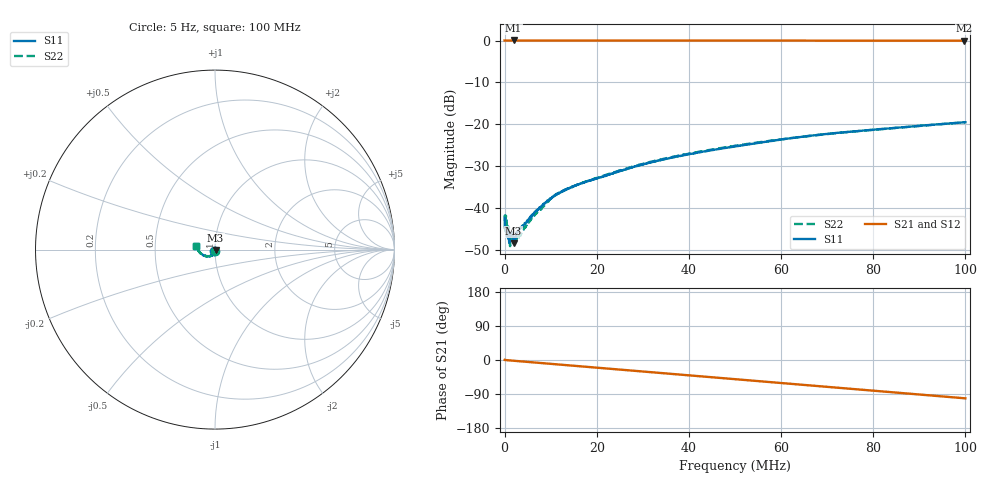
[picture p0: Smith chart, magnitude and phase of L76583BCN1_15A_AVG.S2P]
!Agilent Technologies,E5061B,MY49102235,A.02.00
!Date: Tue Jul 11 14:52:58 2023
!Data & Calibration Information:
!Freq	S11:SOLT2(ON)	S21:SOLT2(ON)	S12:SOLT2(ON)	S22:SOLT2(ON)
# Hz S RI R 50
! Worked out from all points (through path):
!   1600 points, 5 Hz to 100 MHz, reference 50 ohm
!   highest |S21| = 0.02 dB at 1.939 MHz (marker M1); lowest = 0.0 dB at 99.75 MHz (marker M2)
!   group delay of S21, straight-line fit = 2.81 ns
!   lowest |S11| = -48.4 dB at 1.939 MHz (marker M3), VSWR 1.01, Z = 50.3 - j0.219 ohm
!   |S11| at or under -10 dB: start of sweep to end of sweep
!   |S22| runs from -49.1 to -19.5 dB; largest |S21 - S12| = 0.0027
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5  -0.00515 -0.00562  1.002 0.00793  1 0.0103  -0.00153 -0.00754
437778.6  0.00514 -0.000571  1.001 -0.00537  1.001 -0.00607  0.00662 -0.00222
625395.8  0.00505 -0.000589  1.002 -0.0106  1.002 -0.01  0.0061 -0.000982
938091.3  0.00433 -0.000341  1.001 -0.0152  1.001 -0.0148  0.0059 -0.00091
1500943  0.00436 -0.00239  1.001 -0.0252  1.001 -0.0251  0.00301 -0.00356
1938717  0.00313 -0.00218  1.002 -0.0338  1.001 -0.0333  0.0034 -0.00191
2376490  0.00331 -0.0028  0.9998 -0.0416  1 -0.0418  0.00396 -0.00246
3252037  0.00427 -0.00394  0.9994 -0.0573  0.9992 -0.057  0.00316 -0.00341
4690436  0.00376 -0.00559  0.9977 -0.0826  0.9974 -0.0825  0.00343 -0.00524
6003757  0.00336 -0.00739  0.9954 -0.1056  0.9954 -0.1054  0.00289 -0.00719
9505946  0.00158 -0.0123  0.987 -0.1673  0.9871 -0.1669  0.000925 -0.0122
1.156974e7  0.000137 -0.015  0.9804 -0.2029  0.9801 -0.2026  -0.000817 -0.0151
1.669794e7  -0.00353 -0.0195  0.9574 -0.2907  0.9573 -0.2904  -0.00398 -0.0195
2.582865e7  -0.0103 -0.0267  0.8985 -0.4407  0.8982 -0.4405  -0.00836 -0.0279
3.333334e7  -0.0184 -0.0321  0.8319 -0.5554  0.8317 -0.5551  -0.0174 -0.0331
5.003127e7  -0.0402 -0.0368  0.6341 -0.7728  0.634 -0.7725  -0.0407 -0.0377
6.672921e7  -0.0672 -0.0305  0.3814 -0.9225  0.3817 -0.9224  -0.0665 -0.0308
7.53596e7  -0.0794 -0.0214  0.2369 -0.9689  0.2371 -0.9687  -0.0787 -0.0223
8.33646e7  -0.0889 -0.0096  0.0982 -0.9921  0.0982 -0.9921  -0.0885 -0.0116
9.155722e7  -0.0975 0.00446  -0.0459 -0.995  -0.0458 -0.9949  -0.0976 0.0013
9.974984e7  -0.1041 0.02  -0.1886 -0.9769  -0.1883 -0.9771  -0.104 0.0173
1e8  -0.1042 0.0205  -0.1929 -0.9763  -0.1927 -0.9763  -0.1043 0.0179
